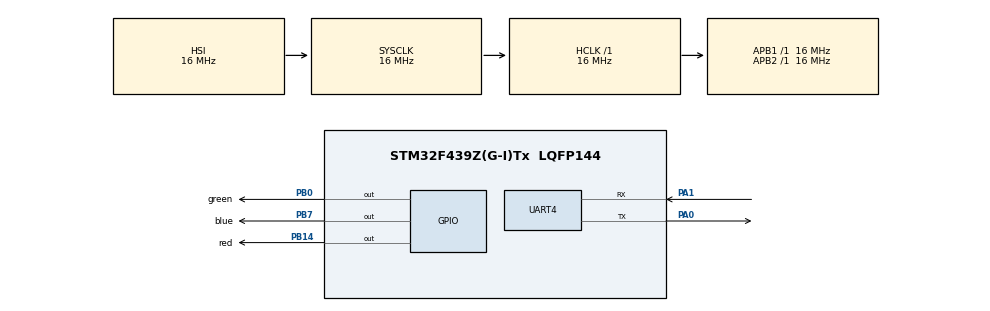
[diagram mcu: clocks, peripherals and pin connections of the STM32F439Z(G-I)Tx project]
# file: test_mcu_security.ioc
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IWDG.Prescaler=IWDG_PRESCALER_128
Mcu.Family=STM32F4
Mcu.Name=STM32F439Z(G-I)Tx
Mcu.Package=LQFP144
NVIC.PriorityGroup=NVIC_PRIORITYGROUP_4
PA0/WKUP.Mode=Asynchronous
PA0/WKUP.Signal=UART4_TX
PA1.Mode=Asynchronous
PA1.Signal=UART4_RX
PB0.GPIO_Label=green
PB0.Signal=GPIO_Output
PB14.GPIO_Label=red
PB14.Signal=GPIO_Output
PB7.GPIO_Label=blue
PB7.Signal=GPIO_Output
ProjectManager.HeapSize=0x200
ProjectManager.StackSize=0x400
ProjectManager.TargetToolchain=STM32CubeIDE
RCC.AHBFreq_Value=16000000
RCC.APB1Freq_Value=16000000
RCC.APB2Freq_Value=16000000
RCC.CortexFreq_Value=16000000
RCC.HSE_VALUE=25000000
RCC.HSI_VALUE=16000000
RCC.LSE_VALUE=32768
RCC.SYSCLKFreq_VALUE=16000000
RCC.VCOOutputFreq_Value=192000000
UART4.VirtualMode=Asynchronous
VP_IWDG_VS_IWDG.Mode=IWDG_Activate
VP_RNG_VS_RNG.Mode=RNG_Activate
VP_RTC_VS_RTC_Activate.Mode=RTC_Enabled
VP_wolfSSL.I-CUBE-wolfSSL_VS_wolfSSLJjwolfSSL_5.5.4_5.5.4.Mode=wolfSSLJjwolfSSL
board=custom
wolfSSL.I-CUBE-wolfSSL.5.5.4.WOLF_CONF_AESGCM=0
wolfSSL.I-CUBE-wolfSSL.5.5.4.WOLF_CONF_DH=0
wolfSSL.I-CUBE-wolfSSL.5.5.4.WOLF_CONF_ECC=1
wolfSSL.I-CUBE-wolfSSL.5.5.4.WOLF_CONF_OPENSSL_EXTRA=2
wolfSSL.I-CUBE-wolfSSL.5.5.4.WOLF_CONF_TEST=0
wolfSSL.I-CUBE-wolfSSL.5.5.4.WOLF_CONF_TLS12=0
wolfSSL.I-CUBE-wolfSSL.5.5.4.wolfSSLCcwolfSSLJjwolfCryptJjCore=true
wolfSSL.I-CUBE-wolfSSL.5.5.4.wolfSSLCcwolfSSLJjwolfSSLJjCore=true

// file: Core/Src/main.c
/* USER CODE BEGIN Header */
/**
 ******************************************************************************
 * @file           : main.c
 * @brief          : Main program body
 ******************************************************************************
 * @attention
 *
 * Copyright (c) 2023 STMicroelectronics.
 * All rights reserved.
 *
 * This software is licensed under terms that can be found in the LICENSE file
 * in the root directory of this software component.
 * If no LICENSE file comes with this software, it is provided AS-IS.
 *
 ******************************************************************************
 */
/* USER CODE END Header */
#include "main.h"
#include "iwdg.h"
#include "rng.h"
#include "rtc.h"
#include "usart.h"
#include "gpio.h"

/* USER CODE BEGIN Includes */
#include "stdio.h"
#include "boot_manager.h"
/* USER CODE END Includes */

void SystemClock_Config(void);

int main(void)
{
  /* USER CODE BEGIN 1 */
__enable_irq();
  /* USER CODE END 1 */

  /* MCU Configuration--------------------------------------------------------*/

  /* Reset of all peripherals, Initializes the Flash interface and the Systick. */
  HAL_Init();

  /* Configure the system clock */
  SystemClock_Config();

  /* USER CODE BEGIN SysInit */
  MX_RTC_Init();

  	uint8_t Attempt_counter = read_backup_reg(0);
  	Attempt_counter++;
	write_Attempt_Counter(Attempt_counter);
	if(Attempt_counter > 3){
		write_Attempt_Counter(0x00);
		//swap banks
		bootloader_switch_to_inactive_bank();
		bootloader_reboot();
	}else{
		//continue in the main function
	}
  /* USER CODE END SysInit */

  /* Initialize all configured peripherals */
  MX_GPIO_Init();
  MX_RNG_Init();
  MX_UART4_Init();
  MX_IWDG_Init();
  HAL_IWDG_Refresh(&hiwdg);
  /* USER CODE BEGIN 2 */

  //int ret =FAILED;
  int ret =SUCCEEDED;
  ret = secure_boot_verify();
  if(ret == SUCCEEDED){
	  //jump to application
	  jump_to_application(MAIN_APPLICATION_START_ADDRESS);

  }else{
	 // printf("%d\n",Attempt_counter);
  }

  /* USER CODE END 2 */

  /* Infinite loop */
  while (1)
  {
//	  HAL_GPIO_TogglePin(green_GPIO_Port, red_Pin);
//	  HAL_Delay(500);

  }
}

void SystemClock_Config(void)
{
  RCC_OscInitTypeDef RCC_OscInitStruct = {0};
  RCC_ClkInitTypeDef RCC_ClkInitStruct = {0};

  /** Configure the main internal regulator output voltage
  */
  __HAL_RCC_PWR_CLK_ENABLE();
  __HAL_PWR_VOLTAGESCALING_CONFIG(PWR_REGULATOR_VOLTAGE_SCALE3);

  /** Initializes the RCC Oscillators according to the specified parameters
  * in the RCC_OscInitTypeDef structure.
  */
  RCC_OscInitStruct.OscillatorType = RCC_OSCILLATORTYPE_HSI|RCC_OSCILLATORTYPE_LSI;
  RCC_OscInitStruct.HSIState = RCC_HSI_ON;
  RCC_OscInitStruct.HSICalibrationValue = RCC_HSICALIBRATION_DEFAULT;
  RCC_OscInitStruct.LSIState = RCC_LSI_ON;
  RCC_OscInitStruct.PLL.PLLState = RCC_PLL_ON;
  RCC_OscInitStruct.PLL.PLLSource = RCC_PLLSOURCE_HSI;
  RCC_OscInitStruct.PLL.PLLM = 16;
  RCC_OscInitStruct.PLL.PLLN = 192;
  RCC_OscInitStruct.PLL.PLLP = RCC_PLLP_DIV2;
  RCC_OscInitStruct.PLL.PLLQ = 4;
  if (HAL_RCC_OscConfig(&RCC_OscInitStruct) != HAL_OK)
  {
    Error_Handler();
  }

  /** Initializes the CPU, AHB and APB buses clocks
  */
  RCC_ClkInitStruct.ClockType = RCC_CLOCKTYPE_HCLK|RCC_CLOCKTYPE_SYSCLK
                              |RCC_CLOCKTYPE_PCLK1|RCC_CLOCKTYPE_PCLK2;
  RCC_ClkInitStruct.SYSCLKSource = RCC_SYSCLKSOURCE_HSI;
  RCC_ClkInitStruct.AHBCLKDivider = RCC_SYSCLK_DIV1;
  RCC_ClkInitStruct.APB1CLKDivider = RCC_HCLK_DIV1;
  RCC_ClkInitStruct.APB2CLKDivider = RCC_HCLK_DIV1;

  if (HAL_RCC_ClockConfig(&RCC_ClkInitStruct, FLASH_LATENCY_0) != HAL_OK)
  {
    Error_Handler();
  }
}

void Error_Handler(void)
{
	__disable_irq();
	while (1)
	{
	}
}
